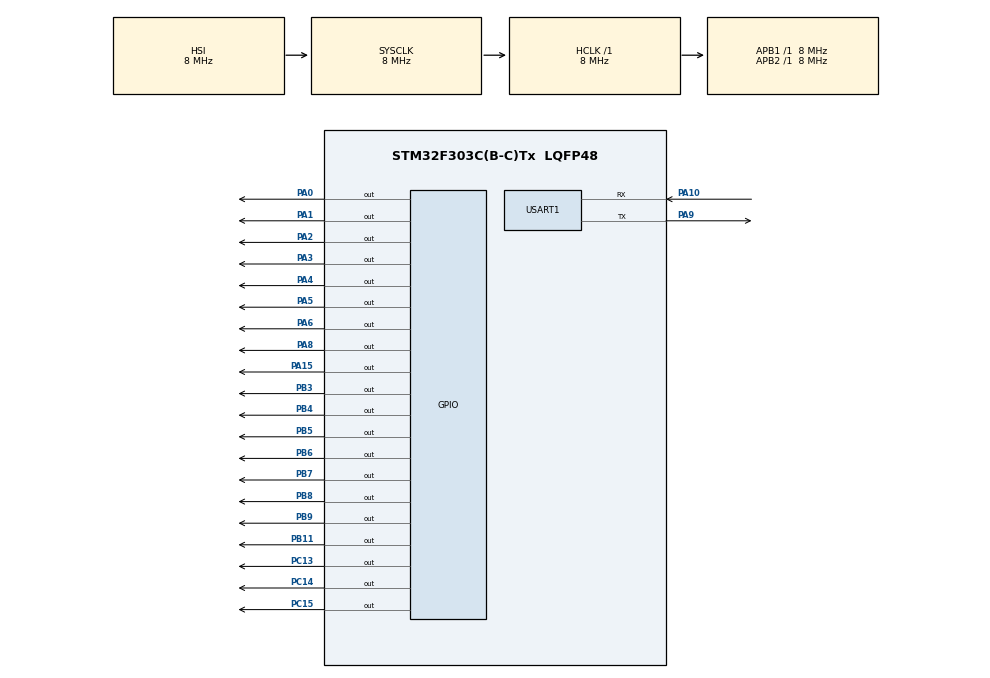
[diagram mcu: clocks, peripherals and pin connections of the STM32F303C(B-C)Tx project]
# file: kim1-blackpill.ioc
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Mcu.Family=STM32F3
Mcu.Name=STM32F303C(B-C)Tx
Mcu.Package=LQFP48
NVIC.PriorityGroup=NVIC_PRIORITYGROUP_4
PA0.Signal=GPIO_Output
PA1.Signal=GPIO_Output
PA10.Mode=Asynchronous
PA10.Signal=USART1_RX
PA15.Signal=GPIO_Output
PA2.Signal=GPIO_Output
PA3.Signal=GPIO_Output
PA4.Signal=GPIO_Output
PA5.Signal=GPIO_Output
PA6.Signal=GPIO_Output
PA8.Signal=GPIO_Output
PA9.Mode=Asynchronous
PA9.Signal=USART1_TX
PB11.Signal=GPIO_Output
PB3.Signal=GPIO_Output
PB4.Signal=GPIO_Output
PB5.Signal=GPIO_Output
PB6.Signal=GPIO_Output
PB7.Signal=GPIO_Output
PB8.Signal=GPIO_Output
PB9.Signal=GPIO_Output
PC13.Signal=GPIO_Output
PC14-OSC32_IN.Signal=GPIO_Output
PC15-OSC32_OUT.Signal=GPIO_Output
ProjectManager.HeapSize=0x200
ProjectManager.StackSize=0x400
ProjectManager.TargetToolchain=STM32CubeIDE
RCC.AHBFreq_Value=8000000
RCC.APB1Freq_Value=8000000
RCC.APB2Freq_Value=8000000
RCC.CortexFreq_Value=8000000
RCC.HSE_VALUE=8000000
RCC.HSI_VALUE=8000000
RCC.LSE_VALUE=32768
RCC.PLLMUL=RCC_PLL_MUL4
RCC.SYSCLKFreq_VALUE=8000000
RCC.USBFreq_Value=16000000
USART1.VirtualMode-Asynchronous=VM_ASYNC
board=custom

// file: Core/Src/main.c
/* USER CODE BEGIN Header */
/**
  ******************************************************************************
  * @file           : main.c
  * @brief          : Main program body
  ******************************************************************************
  * @attention
  *
  * <h2><center>&copy; Copyright (c) 2021 STMicroelectronics.
  * All rights reserved.</center></h2>
  *
  * This software component is licensed by ST under BSD 3-Clause license,
  * the "License"; You may not use this file except in compliance with the
  * License. You may obtain a copy of the License at:
  *                        opensource.org/licenses/BSD-3-Clause
  *
  ******************************************************************************
  */
/* USER CODE END Header */
#include "main.h"

UART_HandleTypeDef huart1;

#define SPECIAL_CHECK_TIME 7500

void SystemClock_Config(void);
static void MX_GPIO_Init(void);
static void MX_USART1_UART_Init(void);
/* USER CODE BEGIN PFP */

void keyMode();
void LEDMode();

/* USER CODE END PFP */

/* USER CODE BEGIN 0 */

// Define the pins uses for acols, arows, and ledSelect
// For effiency, the program no longer uses these so it
// can do operations in bulk (e.g. 7 out of the 8 pins
// in acols are on GPIOB, so they can be set all at once)

// If the KIM-UNO board had been designed specifically for
// the blackpill, the pins would probably line up better and
// not have to span across multiple GPIO ports, but I am just
// sticking a blackpill onto the original Arduino Mini Pro
// socket.

GPIO_TypeDef *acols_bank[8] = {
		GPIOA, GPIOB, GPIOB, GPIOB, GPIOB, GPIOB, GPIOB, GPIOB
};

uint16_t acols_pin[8] = {
		GPIO_PIN_15, GPIO_PIN_3, GPIO_PIN_4, GPIO_PIN_5,
		GPIO_PIN_6, GPIO_PIN_7, GPIO_PIN_8, GPIO_PIN_11
};

GPIO_TypeDef *arows_bank[3] = {
		GPIOB, GPIOC, GPIOA
};

uint16_t arows_pin[3] = {
		GPIO_PIN_9, GPIO_PIN_15, GPIO_PIN_0
};

GPIO_TypeDef *ledSelect_bank[7] = {
		GPIOA, GPIOA, GPIOA, GPIOA, GPIOA, GPIOA, GPIOC
};

uint16_t ledSelect_pin[7] = {
		GPIO_PIN_1, GPIO_PIN_2, GPIO_PIN_3, GPIO_PIN_4,
		GPIO_PIN_5, GPIO_PIN_6, GPIO_PIN_14
};

uint8_t RAM[0x8000];
uint8_t RIOT002_RAM[64];
uint8_t RIOT003_RAM[64];

typedef struct TIMER {
    uint32_t mult;
    uint32_t tick_accum;
    uint32_t start_value;
    int32_t count;
    uint32_t timeout;
} TIMER;

typedef struct RIOT {
    uint8_t padd, sad;
    uint8_t pbdd, sbd;
    TIMER timer;
} RIOT;

struct RIOT riot003;
struct RIOT riot002;

void riot002write(uint16_t, uint8_t);
void riot003write(uint16_t, uint8_t);

void reset_timer(TIMER *, int, uint8_t);
void update_timer(TIMER *, uint32_t);

int check_special();

uint8_t sst_mode;
uint8_t key_mode;

extern const uint8_t RIOT002_ROM[1024];
extern const uint8_t RIOT003_ROM[1024];

#ifdef GLOBAL_REGISTERS
register uint16_t pc asm ("r6");
register uint8_t a asm ("r7");
register uint8_t x asm ("r8");
register uint8_t y asm ("r9");
register uint8_t status asm ("r10");
extern uint8_t sp;

#else
extern uint16_t pc;
extern uint8_t sp, a, x, y, status;
#endif

extern void reset6502();
extern void exec6502(uint32_t);
extern void step6502();
extern void nmi6502();

uint8_t riot002read(uint16_t);
uint8_t riot003read(uint16_t);

uint8_t receive_char;
uint8_t transmit_char;
uint8_t serial_mode;
int paper_tape_line_len;
uint8_t paper_tape_line[1024];

uint8_t read6502(uint16_t addr) {
  if ((addr >= 0x1c00) && (addr < 0x2000)) {
    return RIOT002_ROM[addr-0x1c00];
  } else if (addr < 0x1000) {
    return RAM[addr];
  } else if ((addr >= 0x1800) && (addr < 0x1c00)) {
    return RIOT003_ROM[addr-0x1800];
  } else if ((addr >= 0x1780) && (addr < 0x17c0)) {
    return RIOT003_RAM[addr-0x1780];
  } else if ((addr >= 0x17c0) && (addr < 0x1800)) {
    return RIOT002_RAM[addr-0x17c0];
  } else if ((addr >= 0x1700) && (addr < 0x1740)) {
     return riot003read(addr);
  } else if ((addr >= 0x1740) && (addr < 0x1780)) {
      return riot002read(addr);
  } else if ((addr >= 0x9c00) && (addr < 0xa000)) {
      return RIOT002_RAM[addr - 0x9c00];
  } else if (addr >= 0xff00) {
      return RIOT002_ROM[addr - 0xfc00];
  } else if ((addr >= 0x2000) && (addr <= 9000)) {
      return RAM[addr-0x1000];
  } else {
      return 0;
  }
}

void write6502(uint16_t addr, uint8_t val) {
  if (addr < 0x1000) {
    RAM[addr] = val;
  } else if ((addr >= 0x1780) && (addr < 0x17c0)) {
    RIOT003_RAM[addr-0x1780] = val;
  } else if ((addr >= 0x17c0) && (addr < 0x1800)) {
    RIOT002_RAM[addr-0x17c0] = val;
  } else if ((addr >= 0x1700) && (addr < 0x1740)) {
      riot003write(addr, val);
  } else if ((addr >= 0x1740) && (addr < 0x1780)) {
      riot002write(addr, val);
  } else if ((addr >= 0x2000) && (addr <= 9000)) {
      RAM[addr - 0x1000] = val;
  }
}

uint8_t riot003read(uint16_t address) {
    if (address == 0x1700) {
        return riot003.sad;
    } else if (address == 0x1701) {
        return riot003.padd;
    } else if (address == 0x1702) {
        return riot003.sad;
    } else if (address == 0x1703) {
        return riot003.pbdd;
    } else if ((address == 0x1706) || (address == 0x170e)) {
        if (riot003.timer.timeout) {
            reset_timer(&riot003.timer, riot003.timer.mult, riot003.timer.start_value);
            riot003.timer.timeout = 0;
            riot003.timer.count = 255;
            return 0;
        } else {
            return riot003.timer.count;
        }
    } else if (address == 0x1707) {
        if (riot003.timer.timeout) {
            return 0x80;
        } else {
            return 0;
        }
    } else {
        return 0;
    }
}

uint8_t riot002read(uint16_t address) {
    uint8_t sv;
    int bits;
    if (address == 0x1740) {
        sv = (riot002.sbd >> 1) & 0xf;
        // Return the correct key_bits if the current key depressed
        // belongs to the right scan row, otherwise 0xff, meaning
        // nothing on that row is depressed.
        // arows B9, C15, A0
        if (sv < 3) {
            // Key scan row 0, set B9 low and scan for input on acols pins
            if (sv == 0) {
                HAL_GPIO_WritePin(GPIOB, GPIO_PIN_9, 0);
                HAL_GPIO_WritePin(GPIOC, GPIO_PIN_15, 1);
                HAL_GPIO_WritePin(GPIOA, GPIO_PIN_0, 1);
                bits = ((GPIOB->IDR >> 2) & 0x7e) | HAL_GPIO_ReadPin(GPIOA, GPIO_PIN_15) |
                        (HAL_GPIO_ReadPin(GPIOB, GPIO_PIN_11) << 7);
                HAL_GPIO_WritePin(GPIOB, GPIO_PIN_9, 1);
            } else if (sv == 1) {
                // Key scan row 1, set C15 low and scan for input on acols pins

                HAL_GPIO_WritePin(GPIOB, GPIO_PIN_9, 1);
                HAL_GPIO_WritePin(GPIOC, GPIO_PIN_15, 0);
                HAL_GPIO_WritePin(GPIOA, GPIO_PIN_0, 1);
                bits = ((GPIOB->IDR >> 2) & 0x7e) | HAL_GPIO_ReadPin(GPIOA, GPIO_PIN_15) |
                        (HAL_GPIO_ReadPin(GPIOB, GPIO_PIN_11) << 7);
                HAL_GPIO_WritePin(GPIOC, GPIO_PIN_15, 1);
            } else if (sv == 2) {
                // Key scan row 2, set A0 low and scan for input on acols pins

                HAL_GPIO_WritePin(GPIOB, GPIO_PIN_9, 1);
                HAL_GPIO_WritePin(GPIOC, GPIO_PIN_15, 1);
                HAL_GPIO_WritePin(GPIOA, GPIO_PIN_0, 0);
                bits = ((GPIOB->IDR >> 2) & 0x7e) | HAL_GPIO_ReadPin(GPIOA, GPIO_PIN_15) |
                        (HAL_GPIO_ReadPin(GPIOB, GPIO_PIN_11) << 7);
                HAL_GPIO_WritePin(GPIOA, GPIO_PIN_0, 1);
            }
   			return bits;
        } else if (sv == 3) {
        	if (serial_mode || __HAL_UART_GET_FLAG(&huart1, UART_FLAG_RXNE)) {
                // If there is data on the serial port, go into serial mode. When there
                // is no cable connected to tx/rx, noise on the serial line can cause
                // this to happen and you see the display go blank. A jumper across the rx/tx
                // pins on the expansion port seems to prevent this.
        		serial_mode = 1;
        		return 0;
        	} else {
        		return 0xff;
        	}
        } else {
        	return 0x80;
        }
    } else if (address == 0x1741) {
        return riot002.padd;
    } else if (address == 0x1742) {
        return riot002.sbd;
    } else if (address == 0x1743) {
        return riot002.pbdd;
    } else if ((address == 0x1746) || (address == 0x174e)) {
        if (riot002.timer.timeout) {
            reset_timer(&riot002.timer, riot002.timer.mult, riot002.timer.start_value);
            return 0;
        } else {
            return riot002.timer.count;
        }
    } else if (address == 0x1747) {
        if (riot002.timer.timeout) {
            return 0x80;
        } else {
            return 0;
        }
    }
    return 0;
}

void riot002write(uint16_t address, uint8_t value) {
    uint8_t digit;
    switch (address) {
        case 0x1740:
            riot002.sad = value;
            // Write the LED segments
            HAL_GPIO_WritePin(GPIOA, GPIO_PIN_15, !(value & 1));
            int bits = ((~(value & 0x7e)) << 2) | (((~value) & 0x80) << 4);
            GPIOB->ODR = (GPIOB->ODR & 0xfffff607) | bits;
            break;

        case 0x1741:
            riot002.padd = value;
            if (value == 0) {
                // If padd is in input mode, set up for reading the keyboard
                keyMode();
            } else {
                // If padd is in output mode, set up for writing LED segments
                LEDMode();
            }
            break;

        case 0x1742:
            riot002.sbd = value;
            digit = (value >> 1);
            if ((digit >= 4) && (digit <= 9)) {
                // Turn on the requested LED segment
                GPIOA->ODR = (GPIOA->ODR & 0xffffff81) | (1 << (digit-3));
            }
            break;

        case 0x1743:
            riot002.pbdd = value;
            break;

        case 0x1744:
            reset_timer(&riot002.timer, 1, value);
            break;

        case 0x1745:
            reset_timer(&riot002.timer, 8, value);
            break;

        case 0x1746:
            reset_timer(&riot002.timer, 64, value);
            break;

        case 0x1747:
            reset_timer(&riot002.timer, 1024, value);
            break;
    }
}

void riot003write(uint16_t address, uint8_t value) {
    switch (address) {
        case 0x1700:
            riot003.sad = value;
            break;

        case 0x1701:
            riot003.padd = value;
            break;

        case 0x1702:
            riot003.sbd = value;
            break;

        case 0x1703:
            riot003.pbdd = value;
            break;

        case 0x1704:
            reset_timer(&riot003.timer, 1, value);
            break;

        case 0x1705:
            reset_timer(&riot003.timer, 8, value);
            break;

        case 0x1706:
            reset_timer(&riot003.timer, 64, value);
            break;

        case 0x1707:
            reset_timer(&riot003.timer, 1024, value);
            break;
    }
}

void init_timer(TIMER *timer) {
	timer->mult = 0;
	timer->timeout = 0;
}

void reset_timer(TIMER *timer, int scale, uint8_t start_value) {
    timer->mult = scale;
    timer->tick_accum = 0;
    timer->timeout = 0;
    timer->start_value = start_value;
    timer->count = start_value;
}

void update_timer(TIMER *timer, uint32_t ticks) {
    if (!timer->mult || timer->timeout) {
        return;
    }
    if (ticks >= timer->count) {
        timer->tick_accum++;
        if (timer->tick_accum >= timer->mult) {
            timer->timeout = 1;
            timer->tick_accum = 0;
            timer->count = timer->start_value - (ticks - timer->count);
        } else {
            timer->count = timer->start_value - (ticks - timer->count);
        }
    } else {
        timer->count -= ticks;
    }
}

// Reads a paper tape input line, filtering out anything that isn't part of the paper tape
// protocol, and expecting it to start with a semicolon
int read_paper_tape_line() {
    paper_tape_line_len = 0;
    for (;;) {
        while ((HAL_UART_Receive(&huart1, &receive_char, 1, 1000)) != HAL_OK) {
            if (check_special()) {
                return 1;
            }
        }

        if (receive_char == '\n') {
            return 0;
        } else if (receive_char == '\r') {
            continue;
        } else if ((receive_char != ';') &&
            !(((receive_char >= '0') && (receive_char <= '9')) ||
                    (( receive_char >= 'a') && (receive_char <= 'f')) ||
                    ((receive_char >= 'A') && (receive_char <= 'F')))) {
            continue;
        }
        paper_tape_line[paper_tape_line_len++] = receive_char;
        if (paper_tape_line_len == sizeof(paper_tape_line)) {
            return 0;
        }
    }
}

int paper_tape_read_byte(int *paper_tape_pos, uint8_t *b) {
    uint8_t ch;
    if (*paper_tape_pos >= paper_tape_line_len) return 1;
    ch = paper_tape_line[*paper_tape_pos];
    *paper_tape_pos += 1;
    if ((ch >= '0') && (ch <= '9')) {
        *b = (uint8_t) ((ch - '0') << 4);
    } else if ((ch >= 'A') && (ch <= 'F')) {
        *b = (uint8_t) ((ch - 'A' + 10) << 4);
    } else if ((ch >= 'a') && (ch <= 'f')) {
        *b = (uint8_t) ((ch - 'a' + 10) << 4);
    }
    if (*paper_tape_pos >= paper_tape_line_len) return 1;

    ch = paper_tape_line[*paper_tape_pos];
    *paper_tape_pos += 1;
    if ((ch >= '0') && (ch <= '9')) {
        *b = *b + (uint8_t) (ch - '0');
    } else if ((ch >= 'A') && (ch <= 'F')) {
        *b = *b + (uint8_t) (ch - 'A' + 10);
    } else if ((ch >= 'a') && (ch <= 'f')) {
        *b = *b + (uint8_t) (ch - 'a' + 10);
    }
    return 0;
}

int paper_tape_read_word(int *paper_tape_pos, uint16_t *w) {
    uint8_t b1, b2;
    if (paper_tape_read_byte(paper_tape_pos, &b1)) return 1;
    if (paper_tape_read_byte(paper_tape_pos, &b2)) return 1;
    *w = (b1 << 8) + b2;
    return 0;
}

// THis is one of the few places I override the action of the KIM-1 ROM. I couldn't
// get the paper tape working well without hardware flow control, but by letting
// the ARM chip do the work, it can keep up with a faster baud rate.
// It returns to either LOADER, the spot in the KIM-1 ROM that displays an error
// when loading a paper tape, or LOAD7 where it goes when it succeeds.
void paper_tape_receive() {
    uint8_t count, b1;
    int checksum;
    int paper_tape_pos;
    uint16_t target_checksum;
    uint16_t addr;

    for (;;) {
        if (check_special()) return;

        if (read_paper_tape_line()) return;

        HAL_UART_Transmit(&huart1, paper_tape_line, paper_tape_line_len, 2000);
        HAL_UART_Transmit(&huart1, "\r\n", 2, 2000);

        if (paper_tape_line_len < 9) {
            pc = 0x1d3e; // LOADER
            return;
        }

        if (paper_tape_line[0] != ';') {
            pc = 0x1d3e; // LOADER
            return;
        }

        paper_tape_pos = 1;

        if (paper_tape_read_byte(&paper_tape_pos, &count)) {
            pc = 0x1d3e; // LOADER
            return;
        }

        if (paper_tape_read_word(&paper_tape_pos, &addr)) {
            pc = 0x1d3e; // LOADER
            return;
        }

        checksum = (addr >> 8) + (addr & 0xff) + count;

        for (int i = 0; i < count; i++) {
            if (paper_tape_read_byte(&paper_tape_pos, &b1)) {
                pc = 0x1d3e; // LOADER
                return;
            }
            checksum = (checksum + b1) & 0xffff;
            write6502(addr, b1);
            addr++;
        }
        if (paper_tape_read_word(&paper_tape_pos, &target_checksum)) {
            pc = 0x1d3e; // LOADER
            return;
        }

        if (target_checksum != checksum) {
            pc = 0x1d3e; // LOADER
            return;
        }

        if (count == 0) {
            pc = 0x1d2e; // LOAD7
            return;
        }
    }
}

void check_pc() {
    // Serial IO in the KIM-1 is hard to emulate because it is based on CPU timing.
    // As long as you use the ROM routines to read/write, the emulator will work
    // because it notices when you are trying to read/write a serial char and takes over

	if (pc == 0x1e5a) {  // GETCH - read serial char
        // Look at the return addr to see if this might have been called from the
        // paper tape read
		int return_addr = (RAM[0x102+sp] << 8) + RAM[0x101+sp];
        if (return_addr == 0x1ce9) {
            // If a paper tape read, clear the return value from the stack since
            // we will return straight to whatever called LOAD, and use the ARM
            // paper tape reader
            sp += 2; // Remove the call to GETCH from the stack
			paper_tape_receive();
			return;
		}

        // Read a serial char
		while (HAL_UART_Receive(&huart1, &receive_char, 1, 1000) != HAL_OK);
		a = receive_char;

        // Allow control-D to go back to the built-in keyboard/display
		if (receive_char == 4) {
			serial_mode = 0;
			RAM[0x102+sp] = 0x1c;
			RAM[0x101+sp] = 0x4e;  // to escape serial mode, jump back to START symbol
			                       // change the return address on the stack from 1c6c to 1c4e
		}
		y = 0xff;
		pc = 0x1e85;
	} else if (pc == 0x1ea0) {
        // OUTCH - print a serial char
		transmit_char = a;
		HAL_UART_Transmit(&huart1, &transmit_char, 1, 100);
		pc = 0x1ed3;
	}
}

// On the original KIM-1, the ST, RS, and SST buttons/switch went straight
// to pins on the 6502, so they could occur at any time, and not just when
// the KIM-1 was scanning input. Since the Blackpill lets the KIM-1 do the
// keyboard scanning, we have to do a periodic check for these special keys
// to allow you to hit them when the KIM-1 isn't checking the keyboard.
int check_special() {
	if (key_mode) {  // Only do this when acols pins are set to input
		HAL_GPIO_WritePin(GPIOC, GPIO_PIN_15, 1);
		HAL_GPIO_WritePin(GPIOA, GPIO_PIN_0, 1);
		HAL_GPIO_WritePin(GPIOB, GPIO_PIN_9, 0);

        // Check scan line 0
		int bit = HAL_GPIO_ReadPin(GPIOB, GPIO_PIN_11);
		if (bit == 0) {  // Was a key hit?
			HAL_Delay(50);  // Delay to debounce
			bit = HAL_GPIO_ReadPin(GPIOB, GPIO_PIN_11);
    		if (bit == 0) { // If the key is still down, do an NMI
    			while (HAL_GPIO_ReadPin(GPIOB, GPIO_PIN_11) == 0);
                // KIM-1 has hardware circuitry to prevent NMI when
                // address lines 10,11,12 are all high
                if (!(pc & 0x1c00)) {
                    nmi6502();
                }
    			HAL_GPIO_WritePin(GPIOB, GPIO_PIN_9, 1);
                serial_mode = 0;
    			return 1;
    		}
    		HAL_GPIO_WritePin(GPIOB, GPIO_PIN_9, 1);
    		return 0;
		}
		HAL_GPIO_WritePin(GPIOB, GPIO_PIN_9, 1);

        // Check scan line 1
		HAL_GPIO_WritePin(GPIOC, GPIO_PIN_15, 0);
		bit = HAL_GPIO_ReadPin(GPIOB, GPIO_PIN_11);
		if (bit == 0) { // key pressed?
			HAL_Delay(50);  // debounce delay
			bit = HAL_GPIO_ReadPin(GPIOB, GPIO_PIN_11);
    		if (bit == 0) {
    			while (HAL_GPIO_ReadPin(GPIOB, GPIO_PIN_11) == 0);
    			HAL_GPIO_WritePin(GPIOC, GPIO_PIN_15, 1);
    			reset6502();
                serial_mode = 0;
    			return 1;
    		}
		}
		HAL_GPIO_WritePin(GPIOC, GPIO_PIN_15, 1);

        // Check scan line 2
		HAL_GPIO_WritePin(GPIOA, GPIO_PIN_0, 0);
		bit = HAL_GPIO_ReadPin(GPIOB, GPIO_PIN_11);
		if (bit == 0) {  // key hit
			if (sst_mode) {  // If we are already in SST mode, do a 50ms debounce delay
				HAL_Delay(50);
				bit = HAL_GPIO_ReadPin(GPIOB, GPIO_PIN_11);
	    		if (bit == 0) {
	    			sst_mode = 0;
	    			while (HAL_GPIO_ReadPin(GPIOB, GPIO_PIN_11) == 0);
	    		}
			} else {
				int flag = 1;
				for (int j=0; j < 10; j++) { // Require the user to hold SST for 1 second
					HAL_Delay(100);
					bit = HAL_GPIO_ReadPin(GPIOB, GPIO_PIN_11);
					if (bit == 1) { // If at any time the key is released, quit
						flag = 0;
						break;
					}
				}
				if (flag) { // If the key was held for 1 second, wait for it to be released
	    			while (HAL_GPIO_ReadPin(GPIOB, GPIO_PIN_11) == 0);
				}
				sst_mode = flag;
			}
            serial_mode = 0;
            HAL_GPIO_WritePin(GPIOA, GPIO_PIN_0, 1);
			return 1;
		}
		HAL_GPIO_WritePin(GPIOA, GPIO_PIN_0, 1);
		return 0;
	}

}
/* USER CODE END 0 */

#pragma clang diagnostic push
#pragma ide diagnostic ignored "EndlessLoop"
int main(void)
{

  /* MCU Configuration--------------------------------------------------------*/

  /* Reset of all peripherals, Initializes the Flash interface and the Systick. */
  HAL_Init();

  /* Configure the system clock */
  SystemClock_Config();

  /* Initialize all configured peripherals */
  MX_GPIO_Init();
  MX_USART1_UART_Init();
  /* USER CODE BEGIN 2 */

  HAL_GPIO_WritePin(GPIOC, GPIO_PIN_13, 0);

  for (int i=0; i < 8; i++) {
	  HAL_GPIO_WritePin(acols_bank[i], acols_pin[i], 1);
  }

  for (int i=0; i < 3; i++) {
	  HAL_GPIO_WritePin(arows_bank[i], arows_pin[i], 0);
  }

  for (int i=0; i < 7; i++) {
	  HAL_GPIO_WritePin(ledSelect_bank[i], ledSelect_pin[i], 0);
  }

  memset(&riot002, 0, sizeof(RIOT));
  memset(&riot003, 0, sizeof(RIOT));

  init_timer(&riot002.timer);
  init_timer(&riot003.timer);

  // Set the vectors that the KIM-1 ROM uses
  write6502(0x17fa, 0);
  write6502(0x17fb, 0x1c);
  write6502(0x17fe, 0);
  write6502(0x17ff, 0x1c);

  // Turn single step off
  sst_mode = 0;

  serial_mode = 0;

  // Reset the CPU
  reset6502();

  // Set the countdown for checking the special keys
  int check_special_ticks = SPECIAL_CHECK_TIME;

  /* USER CODE END 2 */

  /* Infinite loop */
  while (1)
  {

    /* USER CODE BEGIN 3 */
      // In the Kim-1 schematic it looks like there is a circuit that prevents the NMI when the
      // address line is 0x1cxx (bits 10, 11, and 12 of the address)
	  uint8_t enable_SST_NMI = sst_mode && !(pc & 0x1c00);

      step6502();

      // If we are in SST mode and can send an NMI, send it
      if (sst_mode && enable_SST_NMI) {
  		  nmi6502();
      }

      // Update the timer ticks. Since the blackpill can't run the CPU at
      // quite full speed, we update the ticks more frequently. At some point
      // maybe I will convert this to using ARM timers to get more accurate timing.
      update_timer(&riot003.timer, 16);
      update_timer(&riot002.timer, 16);

      // See if the CPU is at any interesting location
      check_pc();

      // If it is time to check for special keys, do it
      if (--check_special_ticks <= 0) {
    	  check_special_ticks = SPECIAL_CHECK_TIME;
    	  check_special();
      }
  }
  /* USER CODE END 3 */
}
#pragma clang diagnostic pop

void SystemClock_Config(void)
{
  RCC_OscInitTypeDef RCC_OscInitStruct = {0};
  RCC_ClkInitTypeDef RCC_ClkInitStruct = {0};
  RCC_PeriphCLKInitTypeDef PeriphClkInit = {0};

  /** Initializes the RCC Oscillators according to the specified parameters
  * in the RCC_OscInitTypeDef structure.
  */
  RCC_OscInitStruct.OscillatorType = RCC_OSCILLATORTYPE_HSI;
  RCC_OscInitStruct.HSIState = RCC_HSI_ON;
  RCC_OscInitStruct.HSICalibrationValue = RCC_HSICALIBRATION_DEFAULT;
  RCC_OscInitStruct.PLL.PLLState = RCC_PLL_NONE;
  if (HAL_RCC_OscConfig(&RCC_OscInitStruct) != HAL_OK)
  {
    Error_Handler();
  }
  /** Initializes the CPU, AHB and APB buses clocks
  */
  RCC_ClkInitStruct.ClockType = RCC_CLOCKTYPE_HCLK|RCC_CLOCKTYPE_SYSCLK
                              |RCC_CLOCKTYPE_PCLK1|RCC_CLOCKTYPE_PCLK2;
  RCC_ClkInitStruct.SYSCLKSource = RCC_SYSCLKSOURCE_HSI;
  RCC_ClkInitStruct.AHBCLKDivider = RCC_SYSCLK_DIV1;
  RCC_ClkInitStruct.APB1CLKDivider = RCC_HCLK_DIV1;
  RCC_ClkInitStruct.APB2CLKDivider = RCC_HCLK_DIV1;

  if (HAL_RCC_ClockConfig(&RCC_ClkInitStruct, FLASH_LATENCY_0) != HAL_OK)
  {
    Error_Handler();
  }
  PeriphClkInit.PeriphClockSelection = RCC_PERIPHCLK_USART1;
  PeriphClkInit.Usart1ClockSelection = RCC_USART1CLKSOURCE_PCLK2;
  if (HAL_RCCEx_PeriphCLKConfig(&PeriphClkInit) != HAL_OK)
  {
    Error_Handler();
  }
}

static void MX_USART1_UART_Init(void)
{

  huart1.Instance = USART1;
  huart1.Init.BaudRate = 9600;
  huart1.Init.WordLength = UART_WORDLENGTH_8B;
  huart1.Init.StopBits = UART_STOPBITS_1;
  huart1.Init.Parity = UART_PARITY_NONE;
  huart1.Init.Mode = UART_MODE_TX_RX;
  huart1.Init.HwFlowCtl = UART_HWCONTROL_NONE;
  huart1.Init.OverSampling = UART_OVERSAMPLING_16;
  huart1.Init.OneBitSampling = UART_ONE_BIT_SAMPLE_DISABLE;
  huart1.AdvancedInit.AdvFeatureInit = UART_ADVFEATURE_NO_INIT;
  if (HAL_UART_Init(&huart1) != HAL_OK)
  {
    Error_Handler();
  }

}

static void MX_GPIO_Init(void)
{
  GPIO_InitTypeDef GPIO_InitStruct = {0};
  key_mode = 0;

  /* GPIO Ports Clock Enable */
  __HAL_RCC_GPIOC_CLK_ENABLE();
  __HAL_RCC_GPIOA_CLK_ENABLE();
  __HAL_RCC_GPIOB_CLK_ENABLE();

  /*Configure GPIO pin Output Level */
  HAL_GPIO_WritePin(GPIOC, GPIO_PIN_13|GPIO_PIN_14|GPIO_PIN_15, GPIO_PIN_RESET);

  /*Configure GPIO pin Output Level */
  HAL_GPIO_WritePin(GPIOA, GPIO_PIN_0|GPIO_PIN_1|GPIO_PIN_2|GPIO_PIN_3
                          |GPIO_PIN_4|GPIO_PIN_5|GPIO_PIN_6|GPIO_PIN_8
                          |GPIO_PIN_15, GPIO_PIN_RESET);

  /*Configure GPIO pin Output Level */
  HAL_GPIO_WritePin(GPIOB, GPIO_PIN_11|GPIO_PIN_3|GPIO_PIN_4|GPIO_PIN_5
                          |GPIO_PIN_6|GPIO_PIN_7|GPIO_PIN_8|GPIO_PIN_9, GPIO_PIN_RESET);

  /*Configure GPIO pins : PC13 PC14 PC15 */
  GPIO_InitStruct.Pin = GPIO_PIN_13|GPIO_PIN_14|GPIO_PIN_15;
  GPIO_InitStruct.Mode = GPIO_MODE_OUTPUT_PP;
  GPIO_InitStruct.Pull = GPIO_NOPULL;
  GPIO_InitStruct.Speed = GPIO_SPEED_FREQ_LOW;
  HAL_GPIO_Init(GPIOC, &GPIO_InitStruct);

  /*Configure GPIO pins : PA0 PA1 PA2 PA3
                           PA4 PA5 PA6 PA8
                           PA15 */
  GPIO_InitStruct.Pin = GPIO_PIN_0|GPIO_PIN_1|GPIO_PIN_2|GPIO_PIN_3
                          |GPIO_PIN_4|GPIO_PIN_5|GPIO_PIN_6|GPIO_PIN_8
                          |GPIO_PIN_15;
  GPIO_InitStruct.Mode = GPIO_MODE_OUTPUT_PP;
  GPIO_InitStruct.Pull = GPIO_NOPULL;
  GPIO_InitStruct.Speed = GPIO_SPEED_FREQ_LOW;
  HAL_GPIO_Init(GPIOA, &GPIO_InitStruct);

  /*Configure GPIO pins : PB11 PB3 PB4 PB5
                           PB6 PB7 PB8 PB9 */
  GPIO_InitStruct.Pin = GPIO_PIN_3|GPIO_PIN_4|GPIO_PIN_5
                          |GPIO_PIN_6|GPIO_PIN_7|GPIO_PIN_8|GPIO_PIN_9;
  GPIO_InitStruct.Mode = GPIO_MODE_OUTPUT_PP;
  GPIO_InitStruct.Pull = GPIO_NOPULL;
  GPIO_InitStruct.Speed = GPIO_SPEED_FREQ_LOW;
  HAL_GPIO_Init(GPIOB, &GPIO_InitStruct);

  GPIO_InitStruct.Pin = GPIO_PIN_11;
  GPIO_InitStruct.Mode = GPIO_MODE_INPUT;
  GPIO_InitStruct.Pull = GPIO_PULLUP;
  GPIO_InitStruct.Speed = GPIO_SPEED_FREQ_LOW;
  HAL_GPIO_Init(GPIOB, &GPIO_InitStruct);

}

/* USER CODE BEGIN 4 */

void keyMode() {
    key_mode = 1;
	  GPIO_InitTypeDef GPIO_InitStruct = {0};

	// Set ACOLS and LED Select to input

	/*Configure GPIO pins : PC13 PC14 PC15 */
	  GPIO_InitStruct.Pin = GPIO_PIN_14;
	  GPIO_InitStruct.Mode = GPIO_MODE_INPUT;
	  GPIO_InitStruct.Pull = GPIO_PULLUP;
	  GPIO_InitStruct.Speed = GPIO_SPEED_FREQ_LOW;
	  HAL_GPIO_Init(GPIOC, &GPIO_InitStruct);

	  /*Configure GPIO pins : PA0 PA1 PA2 PA3
	                           PA4 PA5 PA6 PA8
	                           PA15 */
	  GPIO_InitStruct.Pin = GPIO_PIN_1|GPIO_PIN_2|GPIO_PIN_3
	                          |GPIO_PIN_4|GPIO_PIN_5|GPIO_PIN_6
	                          |GPIO_PIN_15;
	  GPIO_InitStruct.Mode = GPIO_MODE_INPUT;
	  GPIO_InitStruct.Pull = GPIO_PULLUP;
	  GPIO_InitStruct.Speed = GPIO_SPEED_FREQ_LOW;
	  HAL_GPIO_Init(GPIOA, &GPIO_InitStruct);

	  /*Configure GPIO pins : PB11 PB3 PB4 PB5
	                           PB6 PB7 PB8 PB9 */
	  GPIO_InitStruct.Pin = GPIO_PIN_3|GPIO_PIN_4|GPIO_PIN_5
	                          |GPIO_PIN_6|GPIO_PIN_7|GPIO_PIN_8;
	  GPIO_InitStruct.Mode = GPIO_MODE_INPUT;
	  GPIO_InitStruct.Pull = GPIO_PULLUP;
	  GPIO_InitStruct.Speed = GPIO_SPEED_FREQ_LOW;
	  HAL_GPIO_Init(GPIOB, &GPIO_InitStruct);
}

void LEDMode() {
    key_mode = 0;
	  GPIO_InitTypeDef GPIO_InitStruct = {0};

	  /*Configure GPIO pins : PC13 PC14 PC15 */
	  GPIO_InitStruct.Pin = GPIO_PIN_13|GPIO_PIN_14|GPIO_PIN_15;
	  GPIO_InitStruct.Mode = GPIO_MODE_OUTPUT_PP;
	  GPIO_InitStruct.Pull = GPIO_NOPULL;
	  GPIO_InitStruct.Speed = GPIO_SPEED_FREQ_LOW;
	  HAL_GPIO_Init(GPIOC, &GPIO_InitStruct);

	  /*Configure GPIO pins : PA0 PA1 PA2 PA3
	                           PA4 PA5 PA6 PA8
	                           PA15 */
	  GPIO_InitStruct.Pin = GPIO_PIN_0|GPIO_PIN_1|GPIO_PIN_2|GPIO_PIN_3
	                          |GPIO_PIN_4|GPIO_PIN_5|GPIO_PIN_6|GPIO_PIN_8
	                          |GPIO_PIN_15;
	  GPIO_InitStruct.Mode = GPIO_MODE_OUTPUT_PP;
	  GPIO_InitStruct.Pull = GPIO_NOPULL;
	  GPIO_InitStruct.Speed = GPIO_SPEED_FREQ_LOW;
	  HAL_GPIO_Init(GPIOA, &GPIO_InitStruct);

	  /*Configure GPIO pins : PB11 PB3 PB4 PB5
	                           PB6 PB7 PB8 PB9 */
	  GPIO_InitStruct.Pin = GPIO_PIN_3|GPIO_PIN_4|GPIO_PIN_5
	                          |GPIO_PIN_6|GPIO_PIN_7|GPIO_PIN_8|GPIO_PIN_9;
	  GPIO_InitStruct.Mode = GPIO_MODE_OUTPUT_PP;
	  GPIO_InitStruct.Pull = GPIO_NOPULL;
	  GPIO_InitStruct.Speed = GPIO_SPEED_FREQ_LOW;
	  HAL_GPIO_Init(GPIOB, &GPIO_InitStruct);

}
/* USER CODE END 4 */

void Error_Handler(void)
{
  __disable_irq();
  while (1)
  {
  }
}

/************************ (C) COPYRIGHT STMicroelectronics *****END OF FILE****/
